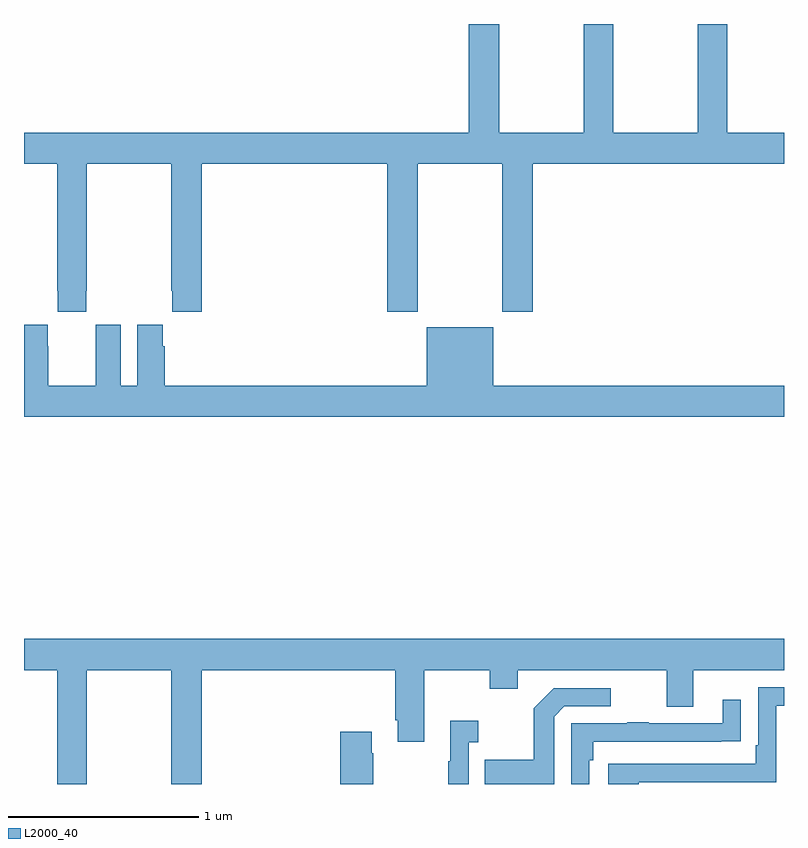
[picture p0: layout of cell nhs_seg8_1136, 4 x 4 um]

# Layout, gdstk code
import gdstk
lib = gdstk.Library(unit=1e-6, precision=1e-09)
def P(c, l, *ps):  # polygons
    for p in ps: c.add(gdstk.Polygon(p, *l))
L2000_40 = (2000, 40)

nhs_seg8_1136 = lib.new_cell('nhs_seg8_1136')
P(nhs_seg8_1136, L2000_40, [(183.327,1118.497),(183.33,1118.497),(183.33,1119.164),(183.775,1119.164),(183.775,1118.497),(183.781,1118.497),(183.781,1118.385),(183.935,1118.385),(183.935,1119.164),(184.913,1119.164),(184.913,1118.385),(185.073,1118.385),(185.073,1119.164),(185.518,1119.164),(185.518,1118.385),(185.678,1118.385),(185.678,1119.164),(187,1119.164),(187,1119.328),(186.702,1119.328),(186.702,1119.9),(186.547,1119.9),(186.547,1119.328),(186.102,1119.328),(186.102,1119.9),(185.947,1119.9),(185.947,1119.328),(185.502,1119.328),(185.502,1119.9),(185.342,1119.9),(185.342,1119.328),(183,1119.328),(183,1119.164),(183.175,1119.164),(183.175,1118.497),(183.177,1118.497),(183.177,1118.385),(183.327,1118.385)],
  [(187,1117.996),(185.47,1117.996),(185.47,1118.305),(185.12,1118.305),(185.12,1117.996),(183.74,1117.996),(183.74,1118.204),(183.73,1118.204),(183.73,1118.317),(183.596,1118.317),(183.596,1117.996),(183.508,1117.996),(183.508,1118.317),(183.378,1118.317),(183.378,1118.204),(183.377,1118.204),(183.377,1117.996),(183.127,1117.996),(183.127,1118.204),(183.126,1118.204),(183.126,1118.317),(183,1118.317),(183,1117.832),(187,1117.832)],
  [(183.33,1116.5),(183.775,1116.5),(183.775,1115.9),(183.935,1115.9),(183.935,1116.5),(184.955,1116.5),(184.955,1116.235),(184.967,1116.235),(184.967,1116.123),(185.107,1116.123),(185.107,1116.5),(185.452,1116.5),(185.452,1116.401),(185.599,1116.401),(185.599,1116.5),(186.383,1116.5),(186.383,1116.306),(186.523,1116.306),(186.523,1116.5),(187,1116.5),(187,1116.664),(183,1116.664),(183,1116.5),(183.175,1116.5),(183.175,1115.9),(183.33,1115.9)],
  [(186.236,1115.91),(186.96,1115.91),(186.96,1116.312),(187,1116.312),(187,1116.408),(186.864,1116.408),(186.864,1116.103),(186.851,1116.103),(186.851,1116.006),(186.075,1116.006),(186.075,1115.9),(186.236,1115.9)],
  [(185.79,1116.255),(185.844,1116.309),(186.088,1116.309),(186.088,1116.405),(185.787,1116.405),(185.682,1116.299),(185.682,1116.027),(185.425,1116.027),(185.425,1115.9),(185.79,1115.9)],
  [(185.976,1116.026),(185.996,1116.026),(185.996,1116.123),(186.671,1116.123),(186.671,1116.124),(186.773,1116.124),(186.773,1116.343),(186.677,1116.343),(186.677,1116.219),(186.287,1116.219),(186.287,1116.224),(186.175,1116.224),(186.175,1116.219),(185.88,1116.219),(185.88,1115.9),(185.976,1115.9)],
  [(185.34,1116.119),(185.392,1116.119),(185.392,1116.232),(185.243,1116.232),(185.243,1116.019),(185.232,1116.019),(185.232,1115.9),(185.34,1115.9)],
  [(184.839,1116.062),(184.831,1116.062),(184.831,1116.175),(184.664,1116.175),(184.664,1115.9),(184.839,1115.9)])

lib.write_gds('nhs_seg8_1136.gds')
